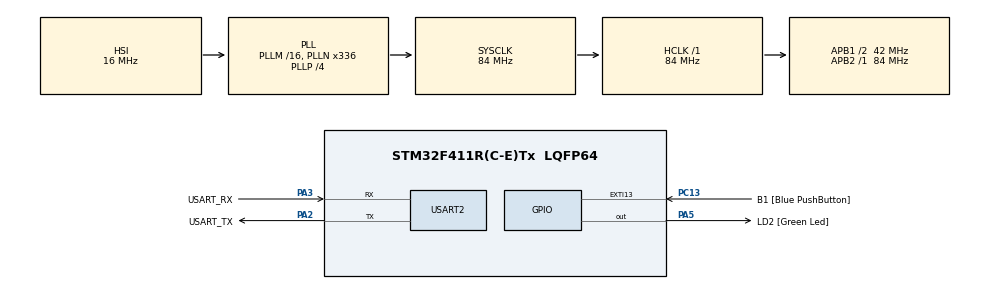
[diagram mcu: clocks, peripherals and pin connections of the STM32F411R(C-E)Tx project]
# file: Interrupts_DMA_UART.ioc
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Dma.Request0=USART2_TX
Dma.Request1=USART2_RX
Dma.USART2_RX.1.Direction=DMA_PERIPH_TO_MEMORY
Dma.USART2_RX.1.FIFOMode=DMA_FIFOMODE_DISABLE
Dma.USART2_RX.1.Instance=DMA1_Stream5
Dma.USART2_RX.1.MemDataAlignment=DMA_MDATAALIGN_BYTE
Dma.USART2_RX.1.MemInc=DMA_MINC_ENABLE
Dma.USART2_RX.1.Mode=DMA_NORMAL
Dma.USART2_RX.1.PeriphDataAlignment=DMA_PDATAALIGN_BYTE
Dma.USART2_RX.1.PeriphInc=DMA_PINC_DISABLE
Dma.USART2_RX.1.Priority=DMA_PRIORITY_LOW
Dma.USART2_TX.0.Direction=DMA_MEMORY_TO_PERIPH
Dma.USART2_TX.0.FIFOMode=DMA_FIFOMODE_DISABLE
Dma.USART2_TX.0.Instance=DMA1_Stream6
Dma.USART2_TX.0.MemDataAlignment=DMA_MDATAALIGN_BYTE
Dma.USART2_TX.0.MemInc=DMA_MINC_ENABLE
Dma.USART2_TX.0.Mode=DMA_NORMAL
Dma.USART2_TX.0.PeriphDataAlignment=DMA_PDATAALIGN_BYTE
Dma.USART2_TX.0.PeriphInc=DMA_PINC_DISABLE
Dma.USART2_TX.0.Priority=DMA_PRIORITY_LOW
Mcu.Family=STM32F4
Mcu.Name=STM32F411R(C-E)Tx
Mcu.Package=LQFP64
NVIC.DMA1_Stream5_IRQn=true\:0\:0\:false\:true\:true\:3\:false\:true\:true
NVIC.DMA1_Stream6_IRQn=true\:0\:0\:false\:true\:true\:1\:false\:true\:true
NVIC.PriorityGroup=NVIC_PRIORITYGROUP_0
NVIC.USART2_IRQn=true\:0\:0\:false\:true\:true\:2\:true\:true\:true
PA13.GPIO_Label=TMS
PA13.Mode=Serial_Wire
PA13.Signal=SYS_JTMS-SWDIO
PA14.GPIO_Label=TCK
PA14.Mode=Serial_Wire
PA14.Signal=SYS_JTCK-SWCLK
PA2.GPIO_Label=USART_TX
PA2.Mode=Asynchronous
PA2.Signal=USART2_TX
PA3.GPIO_Label=USART_RX
PA3.Mode=Asynchronous
PA3.Signal=USART2_RX
PA5.GPIO_Label=LD2 [Green Led]
PA5.Signal=GPIO_Output
PB3.GPIO_Label=SWO
PB3.Signal=SYS_JTDO-SWO
PC13-ANTI_TAMP.GPIO_Label=B1 [Blue PushButton]
PC13-ANTI_TAMP.GPIO_ModeDefaultEXTI=GPIO_MODE_IT_FALLING
PC13-ANTI_TAMP.Signal=GPXTI13
PC14-OSC32_IN.Mode=LSE-External-Oscillator
PC14-OSC32_IN.Signal=RCC_OSC32_IN
PC15-OSC32_OUT.Mode=LSE-External-Oscillator
PC15-OSC32_OUT.Signal=RCC_OSC32_OUT
PH0\ -\ OSC_IN.Mode=HSE-External-Clock-Source
PH0\ -\ OSC_IN.Signal=RCC_OSC_IN
PH1\ -\ OSC_OUT.Mode=HSE-External-Clock-Source
PH1\ -\ OSC_OUT.Signal=RCC_OSC_OUT
ProjectManager.HeapSize=0x200
ProjectManager.StackSize=0x400
ProjectManager.TargetToolchain=STM32CubeIDE
RCC.48MHZClocksFreq_Value=84000000
RCC.AHBFreq_Value=84000000
RCC.APB1CLKDivider=RCC_HCLK_DIV2
RCC.APB1Freq_Value=42000000
RCC.APB1TimFreq_Value=84000000
RCC.APB2Freq_Value=84000000
RCC.APB2TimFreq_Value=84000000
RCC.CortexFreq_Value=84000000
RCC.FLatency-AdvancedSettings=FLASH_LATENCY_2
RCC.HCLKFreq_Value=84000000
RCC.HSE_VALUE=8000000
RCC.HSI_VALUE=16000000
RCC.PLLN=336
RCC.PLLP=RCC_PLLP_DIV4
RCC.SYSCLKFreq_VALUE=84000000
RCC.SYSCLKSource=RCC_SYSCLKSOURCE_PLLCLK
RCC.VCOOutputFreq_Value=336000000
USART2.VirtualMode=VM_ASYNC
board=NUCLEO-F411RE

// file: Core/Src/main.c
/* USER CODE BEGIN Header */
/**
  ******************************************************************************
  * @file           : main.c
  * @brief          : Main program body
  ******************************************************************************
  * @attention
  *
  * Copyright (c) 2023 STMicroelectronics.
  * All rights reserved.
  *
  * This software is licensed under terms that can be found in the LICENSE file
  * in the root directory of this software component.
  * If no LICENSE file comes with this software, it is provided AS-IS.
  *
  ******************************************************************************
  */
/* USER CODE END Header */
#include "main.h"
#include "dma.h"
#include "usart.h"
#include "gpio.h"

/* USER CODE BEGIN Includes */
#include "RingBuffer.h"
#include "ComplexParse.h"
#include "stdio.h"
#include "string.h"

/* USER CODE END Includes */

/* USER CODE BEGIN PV */
RingBuffer_t RingBuffer;

//uint8_t ReceiveTmp;
//uint8_t ReceivedLines;

uint8_t ReceivedDataFromDMA[RINGBUFFER_SIZE/2];
uint8_t ReceivedLines;

uint8_t ReceivedData[RINGBUFFER_SIZE];

//just wanted to send something by UART_Transmit_DMA
//uint8_t Messageee[32];
//uint16_t Length;

/* USER CODE END PV */

void SystemClock_Config(void);
static void MX_NVIC_Init(void);
/* USER CODE BEGIN PFP */
void UartLog(char* Message);
/* USER CODE END PFP */

int main(void)
{

  /* MCU Configuration--------------------------------------------------------*/

  /* Reset of all peripherals, Initializes the Flash interface and the Systick. */
  HAL_Init();

  /* Configure the system clock */
  SystemClock_Config();

  /* Initialize all configured peripherals */
  MX_GPIO_Init();
  MX_DMA_Init();
  MX_USART2_UART_Init();

  /* Initialize interrupts */
  MX_NVIC_Init();
  /* USER CODE BEGIN 2 */
//HAL_UART_Receive_IT(&huart2,&ReceiveTmp, 1); //delete - now i am using DMA

//Length = sprintf((char*)Messageee, "Hello World");

  //HAL_UARTEx_ReceiveToIdle_DMA(&huart2, pData, Size)

HAL_UARTEx_ReceiveToIdle_DMA(&huart2, ReceivedDataFromDMA,RINGBUFFER_SIZE/2 );
  /* USER CODE END 2 */

  /* Infinite loop */
  /* USER CODE BEGIN WHILE */
  while (1)
  {

//just wanted to send something by UART_Transmit_DMA
//	  HAL_UART_Transmit_DMA(&huart2,Messageee, Length);

	  if(ReceivedLines > 0)
	  {

		  Parser_TakeLine(&RingBuffer, ReceivedData );

		  ReceivedLines--;

		  Strcmp_Parse(ReceivedData);

	  }

    /* USER CODE END WHILE */

  }
}

void SystemClock_Config(void)
{
  RCC_OscInitTypeDef RCC_OscInitStruct = {0};
  RCC_ClkInitTypeDef RCC_ClkInitStruct = {0};

  /** Configure the main internal regulator output voltage
  */
  __HAL_RCC_PWR_CLK_ENABLE();
  __HAL_PWR_VOLTAGESCALING_CONFIG(PWR_REGULATOR_VOLTAGE_SCALE1);

  /** Initializes the RCC Oscillators according to the specified parameters
  * in the RCC_OscInitTypeDef structure.
  */
  RCC_OscInitStruct.OscillatorType = RCC_OSCILLATORTYPE_HSI;
  RCC_OscInitStruct.HSIState = RCC_HSI_ON;
  RCC_OscInitStruct.HSICalibrationValue = RCC_HSICALIBRATION_DEFAULT;
  RCC_OscInitStruct.PLL.PLLState = RCC_PLL_ON;
  RCC_OscInitStruct.PLL.PLLSource = RCC_PLLSOURCE_HSI;
  RCC_OscInitStruct.PLL.PLLM = 16;
  RCC_OscInitStruct.PLL.PLLN = 336;
  RCC_OscInitStruct.PLL.PLLP = RCC_PLLP_DIV4;
  RCC_OscInitStruct.PLL.PLLQ = 4;
  if (HAL_RCC_OscConfig(&RCC_OscInitStruct) != HAL_OK)
  {
    Error_Handler();
  }

  /** Initializes the CPU, AHB and APB buses clocks
  */
  RCC_ClkInitStruct.ClockType = RCC_CLOCKTYPE_HCLK|RCC_CLOCKTYPE_SYSCLK
                              |RCC_CLOCKTYPE_PCLK1|RCC_CLOCKTYPE_PCLK2;
  RCC_ClkInitStruct.SYSCLKSource = RCC_SYSCLKSOURCE_PLLCLK;
  RCC_ClkInitStruct.AHBCLKDivider = RCC_SYSCLK_DIV1;
  RCC_ClkInitStruct.APB1CLKDivider = RCC_HCLK_DIV2;
  RCC_ClkInitStruct.APB2CLKDivider = RCC_HCLK_DIV1;

  if (HAL_RCC_ClockConfig(&RCC_ClkInitStruct, FLASH_LATENCY_2) != HAL_OK)
  {
    Error_Handler();
  }
}

/**
  * @brief NVIC Configuration.
  * @retval None
  */
static void MX_NVIC_Init(void)
{
  /* DMA1_Stream6_IRQn interrupt configuration */
  HAL_NVIC_SetPriority(DMA1_Stream6_IRQn, 0, 0);
  HAL_NVIC_EnableIRQ(DMA1_Stream6_IRQn);
  /* USART2_IRQn interrupt configuration */
  HAL_NVIC_SetPriority(USART2_IRQn, 0, 0);
  HAL_NVIC_EnableIRQ(USART2_IRQn);
  /* DMA1_Stream5_IRQn interrupt configuration */
  HAL_NVIC_SetPriority(DMA1_Stream5_IRQn, 0, 0);
  HAL_NVIC_EnableIRQ(DMA1_Stream5_IRQn);
}

/* USER CODE BEGIN 4 */

void UartLog(char* Message)
{
	HAL_UART_Transmit_DMA( &huart2,(uint8_t*)Message, strlen(Message) );
	//HAL_UART_Transmit(&huart2, (uint8_t*)Message, strlen(Message), 1000);
}

void HAL_UARTEx_RxEventCallback(UART_HandleTypeDef *huart, uint16_t Size)
{
	if (huart->Instance == USART2)
	{
		for (uint8_t i =0; i<Size; i++)
		{
			if(RB_OK == RB_Write(&RingBuffer, ReceivedDataFromDMA[i]))
			{}
			else
			{
				RB_Flush(&RingBuffer);
			}

			if (ReceivedDataFromDMA[i] == ENDLINE)
			{
				ReceivedLines++;
			}
		}

		HAL_UARTEx_ReceiveToIdle_DMA(&huart2, ReceivedDataFromDMA,RINGBUFFER_SIZE/2 );
	}
}

//void HAL_UART_RxCpltCallback(UART_HandleTypeDef *huart)
//{
//	if (huart->Instance == USART2)
//	{
//
////		RB_Write(&RingBuffer, ReceiveTmp);
//		if(RB_OK == RB_Write(&RingBuffer, ReceiveTmp))
//		{
//			if (ReceiveTmp == ENDLINE)
//			{
//				ReceivedLines++;
//			}
//		}else
//		{
//			RB_Flush(&RingBuffer);
//		}
//
//		HAL_UART_Receive_IT(&huart2,&ReceiveTmp, 1);
//	}
//
//}
/* USER CODE END 4 */

void Error_Handler(void)
{
  __disable_irq();
  while (1)
  {
  }
}
